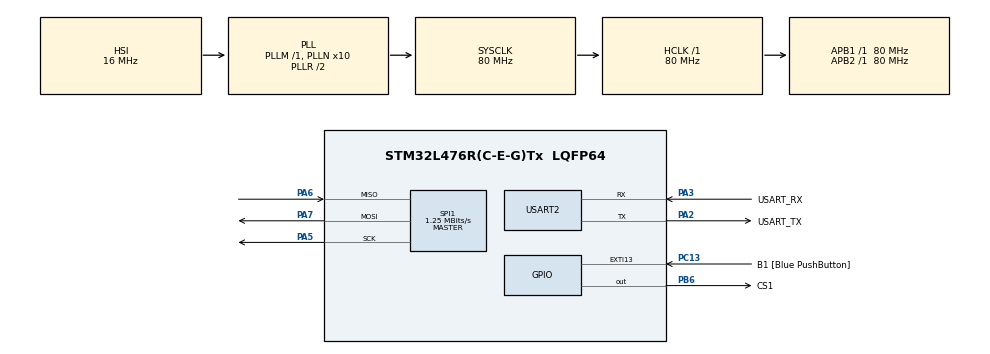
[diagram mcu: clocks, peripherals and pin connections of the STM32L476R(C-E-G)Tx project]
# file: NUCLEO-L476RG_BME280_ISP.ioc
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Mcu.Family=STM32L4
Mcu.Name=STM32L476R(C-E-G)Tx
Mcu.Package=LQFP64
NVIC.PriorityGroup=NVIC_PRIORITYGROUP_4
PA13\ (JTMS-SWDIO).GPIO_Label=TMS
PA13\ (JTMS-SWDIO).Mode=Serial_Wire
PA13\ (JTMS-SWDIO).Signal=SYS_JTMS-SWDIO
PA14\ (JTCK-SWCLK).GPIO_Label=TCK
PA14\ (JTCK-SWCLK).Mode=Serial_Wire
PA14\ (JTCK-SWCLK).Signal=SYS_JTCK-SWCLK
PA2.GPIO_Label=USART_TX
PA2.GPIO_Mode=GPIO_MODE_AF_PP
PA2.GPIO_PuPd=GPIO_NOPULL
PA2.GPIO_Speed=GPIO_SPEED_FREQ_VERY_HIGH
PA2.Mode=Asynchronous
PA2.Signal=USART2_TX
PA3.GPIO_Label=USART_RX
PA3.GPIO_Mode=GPIO_MODE_AF_PP
PA3.GPIO_PuPd=GPIO_NOPULL
PA3.GPIO_Speed=GPIO_SPEED_FREQ_VERY_HIGH
PA3.Mode=Asynchronous
PA3.Signal=USART2_RX
PA5.Mode=Full_Duplex_Master
PA5.Signal=SPI1_SCK
PA6.Mode=Full_Duplex_Master
PA6.Signal=SPI1_MISO
PA7.Mode=Full_Duplex_Master
PA7.Signal=SPI1_MOSI
PB3\ (JTDO-TRACESWO).GPIO_Label=SWO
PB3\ (JTDO-TRACESWO).Signal=SYS_JTDO-SWO
PB6.GPIO_Label=CS1
PB6.Signal=GPIO_Output
PC13.GPIO_Label=B1 [Blue PushButton]
PC13.GPIO_ModeDefaultEXTI=GPIO_MODE_IT_FALLING
PC13.GPIO_PuPd=GPIO_NOPULL
PC13.Signal=GPXTI13
PC14-OSC32_IN\ (PC14).Mode=LSE-External-Oscillator
PC14-OSC32_IN\ (PC14).Signal=RCC_OSC32_IN
PC15-OSC32_OUT\ (PC15).Mode=LSE-External-Oscillator
PC15-OSC32_OUT\ (PC15).Signal=RCC_OSC32_OUT
PH0-OSC_IN\ (PH0).Signal=RCC_OSC_IN
PH1-OSC_OUT\ (PH1).Signal=RCC_OSC_OUT
ProjectManager.HeapSize=0x200
ProjectManager.StackSize=0x400
ProjectManager.TargetToolchain=STM32CubeIDE
RCC.ADCFreq_Value=64000000
RCC.AHBFreq_Value=80000000
RCC.APB1Freq_Value=80000000
RCC.APB1TimFreq_Value=80000000
RCC.APB2Freq_Value=80000000
RCC.APB2TimFreq_Value=80000000
RCC.CortexFreq_Value=80000000
RCC.HCLKFreq_Value=80000000
RCC.HSE_VALUE=8000000
RCC.HSI_VALUE=16000000
RCC.MSI_VALUE=4000000
RCC.PLLN=10
RCC.PLLSourceVirtual=RCC_PLLSOURCE_HSI
RCC.PREFETCH_ENABLE=1
RCC.SYSCLKFreq_VALUE=80000000
RCC.SYSCLKSource=RCC_SYSCLKSOURCE_PLLCLK
RCC.USBFreq_Value=64000000
RCC.VCOOutputFreq_Value=160000000
SPI1.BaudRatePrescaler=SPI_BAUDRATEPRESCALER_64
SPI1.CalculateBaudRate=1.25 MBits/s
SPI1.DataSize=SPI_DATASIZE_8BIT
SPI1.Direction=SPI_DIRECTION_2LINES
SPI1.Mode=SPI_MODE_MASTER
SPI1.VirtualType=VM_MASTER
USART2.VirtualMode-Asynchronous=VM_ASYNC
board=NUCLEO-L476RG

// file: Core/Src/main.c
/* USER CODE BEGIN Header */
/**
  ******************************************************************************
  * @file           : main.c
  * @brief          : Main program body
  ******************************************************************************
  * @attention
  *
  * Copyright (c) 2023 STMicroelectronics.
  * All rights reserved.
  *
  * This software is licensed under terms that can be found in the LICENSE file
  * in the root directory of this software component.
  * If no LICENSE file comes with this software, it is provided AS-IS.
  *
  ******************************************************************************
  */
/* USER CODE END Header */
#include "main.h"

/* USER CODE BEGIN Includes */

#include <stdio.h>

/* USER CODE END Includes */

SPI_HandleTypeDef hspi1;

UART_HandleTypeDef huart2;

void SystemClock_Config(void);
static void MX_GPIO_Init(void);
static void MX_USART2_UART_Init(void);
static void MX_SPI1_Init(void);

int main(void)
{
  /* USER CODE BEGIN 1 */

	// Define variables as its name and type from data sheet
	uint8_t dig_H1, dig_H3, dig_H6, rawData[8];
	int16_t dig_T2, dig_T3, dig_P2, dig_P3, dig_P4, dig_P5, dig_P6, dig_P7, dig_P8, dig_P9, dig_H2, dig_H4, dig_H5;
	uint16_t dig_T1, dig_P1;
	int32_t tRaw, pRaw, hRaw, t_fine;
	char sendData[80];
	int len, temp, pressure, humid;

  /* USER CODE END 1 */

  /* MCU Configuration--------------------------------------------------------*/

  /* Reset of all peripherals, Initializes the Flash interface and the Systick. */
  HAL_Init();

  /* Configure the system clock */
  SystemClock_Config();

  /* Initialize all configured peripherals */
  MX_GPIO_Init();
  MX_USART2_UART_Init();
  MX_SPI1_Init();
  /* USER CODE BEGIN 2 */

	// Copy functions from data sheet that compensate data from sensor and switch "BME280_S32_t" to "int32_t"
	int32_t BME280_compensate_T_int32(int32_t adc_T) {

		int32_t var1, var2, T;
		var1 = ((((adc_T >> 3) - ((int32_t) dig_T1 << 1))) * ((int32_t) dig_T2))
				>> 11;
		var2 = (((((adc_T >> 4) - ((int32_t) dig_T1))
				* ((adc_T >> 4) - ((int32_t) dig_T1))) >> 12)
				* ((int32_t) dig_T3)) >> 14;
		t_fine = var1 + var2;
		T = (t_fine * 5 + 128) >> 8;
		return T;
	}

	uint32_t BME280_compensate_P_int64(int32_t adc_P) {

		int64_t var1, var2, p;
		var1 = ((int64_t) t_fine) - 128000;
		var2 = var1 * var1 * (int64_t) dig_P6;
		var2 = var2 + ((var1 * (int64_t) dig_P5) << 17);
		var2 = var2 + (((int64_t) dig_P4) << 35);
		var1 = ((var1 * var1 * (int64_t) dig_P3) >> 8)
				+ ((var1 * (int64_t) dig_P2) << 12);
		var1 = (((((int64_t) 1) << 47) + var1)) * ((int64_t) dig_P1) >> 33;
		if (var1 == 0) {
			return 0; // avoid exception caused by division by zero
		}
		p = 1048576 - adc_P;
		p = (((p << 31) - var2) * 3125) / var1;
		var1 = (((int64_t) dig_P9) * (p >> 13) * (p >> 13)) >> 25;
		var2 = (((int64_t) dig_P8) * p) >> 19;
		p = ((p + var1 + var2) >> 8) + (((int64_t) dig_P7) << 4);
		return (uint32_t) p;
	}

	uint32_t bme280_compensate_H_int32(int32_t adc_H) {

		int32_t v_x1_u32r;
		v_x1_u32r = (t_fine - ((int32_t) 76800));
		v_x1_u32r = (((((adc_H << 14) - (((int32_t) dig_H4) << 20)
				- (((int32_t) dig_H5) * v_x1_u32r)) + ((int32_t) 16384)) >> 15)
				* (((((((v_x1_u32r * ((int32_t) dig_H6)) >> 10)
						* (((v_x1_u32r * ((int32_t) dig_H3)) >> 11)
								+ ((int32_t) 32768))) >> 10)
						+ ((int32_t) 2097152)) * ((int32_t) dig_H2) + 8192)
						>> 14));
		v_x1_u32r = (v_x1_u32r
				- (((((v_x1_u32r >> 15) * (v_x1_u32r >> 15)) >> 7)
						* ((int32_t) dig_H1)) >> 4));
		v_x1_u32r = (v_x1_u32r < 0 ? 0 : v_x1_u32r);
		v_x1_u32r = (v_x1_u32r > 419430400 ? 419430400 : v_x1_u32r);
		return (uint32_t) (v_x1_u32r >> 12);
	}

	// Function for getting compensation variables.
	void calibData(uint16_t *dig_T1,int16_t *dig_T2,int16_t *dig_T3,uint16_t *dig_P1,int16_t *dig_P2,int16_t *dig_P3,int16_t *dig_P4,int16_t *dig_P5,int16_t *dig_P6,int16_t *dig_P7,int16_t *dig_P8,int16_t *dig_P9,uint8_t *dig_H1,int16_t *dig_H2,uint8_t *dig_H3,int16_t *dig_H4,int16_t *dig_H5,uint8_t *dig_H6){

		uint8_t compData[25], compData2[7]; // List to temporary store data
		uint8_t tempPresAddress = 0x88; //From data sheet, it says to pass address, but the 7-bit should be 1 for read. As it already is
		HAL_GPIO_WritePin(GPIOB, GPIO_PIN_6, GPIO_PIN_RESET);
		HAL_SPI_Transmit(&hspi1, &tempPresAddress, 1, 1000);
		HAL_SPI_Receive(&hspi1, compData, 25, 1000); // From data sheet it says when reading more than one byte it will read from the next address. This is taken advantage of by reading multiple bytes from one line and adding them to a list.
		HAL_GPIO_WritePin(GPIOB, GPIO_PIN_6, GPIO_PIN_SET);
		HAL_Delay(100);

		uint8_t humAddress = 0xE1; // Here the 7bit already is 1.
		HAL_GPIO_WritePin(GPIOB, GPIO_PIN_6, GPIO_PIN_RESET);
		HAL_SPI_Transmit(&hspi1, &humAddress, 1, 1000);
		HAL_SPI_Receive(&hspi1, compData2, 7, 1000);
		HAL_GPIO_WritePin(GPIOB, GPIO_PIN_6, GPIO_PIN_SET);
		HAL_Delay(100);

		*dig_T1 = (compData[1] << 8) | compData[0]; // Organize data from list to their corresponding variable as it is in data sheet.
		*dig_T2 = (compData[3] << 8) | compData[2];
		*dig_T3 = (compData[5] << 8) | compData[4];
		*dig_P1 = (compData[7] << 8) | compData[5];
		*dig_P2 = (compData[9] << 8) | compData[6];
		*dig_P3 = (compData[11] << 8) | compData[10];
		*dig_P4 = (compData[13] << 8) | compData[12];
		*dig_P5 = (compData[15] << 8) | compData[14];
		*dig_P6 = (compData[17] << 8) | compData[16];
		*dig_P7 = (compData[19] << 8) | compData[18];
		*dig_P8 = (compData[21] << 8) | compData[20];
		*dig_P9 = (compData[23] << 8) | compData[22];
		*dig_H1 = compData[24];
		*dig_H2 = (compData2[1] << 8) | compData2[0];
		*dig_H3 = (compData2[2]);
		*dig_H4 = (compData2[3] << 4) | (compData2[4] & 0x0f);
		*dig_H5 = (compData2[6] << 4) | (compData2[5] >> 4);
		*dig_H6 = (compData2[7]);

	}

	// Sets Chip select pin to high on init.
	HAL_GPIO_WritePin(GPIOB, GPIO_PIN_6, GPIO_PIN_SET);
	HAL_Delay(100);

	uint8_t activateHumidity[2];
	activateHumidity[0] = 0xF2 & 0b01111111;  //From data sheet, it says to pass address, but the 7-bit should be 0 for write.
	activateHumidity[1] = 0x03; //00000011  // From data sheet its only the first 3 bits that counts. And 011 says its oversampling ×4

	uint8_t activateTempPres[2];
	activateTempPres[0] = 0xF4 & 0b01111111; //
	activateTempPres[1] = 0x27; //00100111 //bit 7,6,5 = temperature sampling (001), bit 4,3,2 = hum sampling (001), bit 1,0 = normal mode (11)

	// Sets chip select to low and sends address and value to initialization the sensor to normal mode with selected samples.
	//  From data sheet the humidity need to be initialization first, and only works after temperature and pressure also has been initialization.
	HAL_GPIO_WritePin(GPIOB, GPIO_PIN_6, GPIO_PIN_RESET);
	HAL_SPI_Transmit(&hspi1, activateHumidity, 2, 1000);
	HAL_GPIO_WritePin(GPIOB, GPIO_PIN_6, GPIO_PIN_SET);

	HAL_Delay(100);

	HAL_GPIO_WritePin(GPIOB, GPIO_PIN_6, GPIO_PIN_RESET);
	HAL_SPI_Transmit(&hspi1, activateTempPres, 2, 1000);
	HAL_GPIO_WritePin(GPIOB, GPIO_PIN_6, GPIO_PIN_SET);

	HAL_Delay(100);

	// Get compensating numbers
	calibData(&dig_T1, &dig_T2, &dig_T3, &dig_P1, &dig_P2, &dig_P3, &dig_P4, &dig_P5, &dig_P6, &dig_P7, &dig_P8, &dig_P9, &dig_H1, &dig_H2, &dig_H3, &dig_H4, &dig_H5, &dig_H6);

	HAL_Delay(100);

  /* USER CODE END 2 */

  /* Infinite loop */
  while (1)
  {

    /* USER CODE BEGIN 3 */
	uint8_t chipAddress = 0xD0 | 0b10000000; //From data sheet, it says to pass address, but the 7-bit should be 1 for read
	uint8_t chipID; // Shall write memory from sensor to this memory address on stm32
	HAL_GPIO_WritePin(GPIOB, GPIO_PIN_6, GPIO_PIN_RESET);
	HAL_SPI_Transmit(&hspi1, &chipAddress, 1, 1000);
	HAL_SPI_Receive(&hspi1, &chipID, 1, 1000);
	HAL_GPIO_WritePin(GPIOB, GPIO_PIN_6, GPIO_PIN_SET);
	HAL_Delay(100);

	uint8_t rawDataAddress = 0xF7; // Here the 7bit already is 1.
	HAL_GPIO_WritePin(GPIOB, GPIO_PIN_6, GPIO_PIN_RESET);
	HAL_SPI_Transmit(&hspi1, &rawDataAddress, 1, 1000);
	HAL_SPI_Receive(&hspi1, rawData, 8, 1000);
	HAL_GPIO_WritePin(GPIOB, GPIO_PIN_6, GPIO_PIN_SET);
	HAL_Delay(100);

	pRaw = (rawData[0]<<12)|(rawData[1]<<4)|(rawData[2]>>4); // Organize data from list to their corresponding variable as it is in data sheet.
	tRaw = (rawData[3]<<12)|(rawData[4]<<4)|(rawData[5]>>4);
	hRaw = (rawData[6]<<8)|(rawData[7]);

	temp = BME280_compensate_T_int32(tRaw); // Put data in function and receive corrected data
	pressure = BME280_compensate_P_int64(pRaw);
	humid = bme280_compensate_H_int32(hRaw);

	len = sprintf(sendData, "%u,%u,%u\n", temp, pressure, humid); // Turn initialization to string

	HAL_UART_Transmit(&huart2, (uint8_t*) sendData, len, 10); // Sending with UART
	HAL_Delay(100);

  }
  /* USER CODE END 3 */
}

void SystemClock_Config(void)
{
  RCC_OscInitTypeDef RCC_OscInitStruct = {0};
  RCC_ClkInitTypeDef RCC_ClkInitStruct = {0};

  /** Configure the main internal regulator output voltage
  */
  if (HAL_PWREx_ControlVoltageScaling(PWR_REGULATOR_VOLTAGE_SCALE1) != HAL_OK)
  {
    Error_Handler();
  }

  /** Initializes the RCC Oscillators according to the specified parameters
  * in the RCC_OscInitTypeDef structure.
  */
  RCC_OscInitStruct.OscillatorType = RCC_OSCILLATORTYPE_HSI;
  RCC_OscInitStruct.HSIState = RCC_HSI_ON;
  RCC_OscInitStruct.HSICalibrationValue = RCC_HSICALIBRATION_DEFAULT;
  RCC_OscInitStruct.PLL.PLLState = RCC_PLL_ON;
  RCC_OscInitStruct.PLL.PLLSource = RCC_PLLSOURCE_HSI;
  RCC_OscInitStruct.PLL.PLLM = 1;
  RCC_OscInitStruct.PLL.PLLN = 10;
  RCC_OscInitStruct.PLL.PLLP = RCC_PLLP_DIV7;
  RCC_OscInitStruct.PLL.PLLQ = RCC_PLLQ_DIV2;
  RCC_OscInitStruct.PLL.PLLR = RCC_PLLR_DIV2;
  if (HAL_RCC_OscConfig(&RCC_OscInitStruct) != HAL_OK)
  {
    Error_Handler();
  }

  /** Initializes the CPU, AHB and APB buses clocks
  */
  RCC_ClkInitStruct.ClockType = RCC_CLOCKTYPE_HCLK|RCC_CLOCKTYPE_SYSCLK
                              |RCC_CLOCKTYPE_PCLK1|RCC_CLOCKTYPE_PCLK2;
  RCC_ClkInitStruct.SYSCLKSource = RCC_SYSCLKSOURCE_PLLCLK;
  RCC_ClkInitStruct.AHBCLKDivider = RCC_SYSCLK_DIV1;
  RCC_ClkInitStruct.APB1CLKDivider = RCC_HCLK_DIV1;
  RCC_ClkInitStruct.APB2CLKDivider = RCC_HCLK_DIV1;

  if (HAL_RCC_ClockConfig(&RCC_ClkInitStruct, FLASH_LATENCY_4) != HAL_OK)
  {
    Error_Handler();
  }
}

static void MX_SPI1_Init(void)
{

  /* SPI1 parameter configuration*/
  hspi1.Instance = SPI1;
  hspi1.Init.Mode = SPI_MODE_MASTER;
  hspi1.Init.Direction = SPI_DIRECTION_2LINES;
  hspi1.Init.DataSize = SPI_DATASIZE_8BIT;
  hspi1.Init.CLKPolarity = SPI_POLARITY_LOW;
  hspi1.Init.CLKPhase = SPI_PHASE_1EDGE;
  hspi1.Init.NSS = SPI_NSS_SOFT;
  hspi1.Init.BaudRatePrescaler = SPI_BAUDRATEPRESCALER_64;
  hspi1.Init.FirstBit = SPI_FIRSTBIT_MSB;
  hspi1.Init.TIMode = SPI_TIMODE_DISABLE;
  hspi1.Init.CRCCalculation = SPI_CRCCALCULATION_DISABLE;
  hspi1.Init.CRCPolynomial = 7;
  hspi1.Init.CRCLength = SPI_CRC_LENGTH_DATASIZE;
  hspi1.Init.NSSPMode = SPI_NSS_PULSE_ENABLE;
  if (HAL_SPI_Init(&hspi1) != HAL_OK)
  {
    Error_Handler();
  }

}

static void MX_USART2_UART_Init(void)
{

  huart2.Instance = USART2;
  huart2.Init.BaudRate = 115200;
  huart2.Init.WordLength = UART_WORDLENGTH_8B;
  huart2.Init.StopBits = UART_STOPBITS_1;
  huart2.Init.Parity = UART_PARITY_NONE;
  huart2.Init.Mode = UART_MODE_TX_RX;
  huart2.Init.HwFlowCtl = UART_HWCONTROL_NONE;
  huart2.Init.OverSampling = UART_OVERSAMPLING_16;
  huart2.Init.OneBitSampling = UART_ONE_BIT_SAMPLE_DISABLE;
  huart2.AdvancedInit.AdvFeatureInit = UART_ADVFEATURE_NO_INIT;
  if (HAL_UART_Init(&huart2) != HAL_OK)
  {
    Error_Handler();
  }

}

static void MX_GPIO_Init(void)
{
  GPIO_InitTypeDef GPIO_InitStruct = {0};

  /* GPIO Ports Clock Enable */
  __HAL_RCC_GPIOC_CLK_ENABLE();
  __HAL_RCC_GPIOH_CLK_ENABLE();
  __HAL_RCC_GPIOA_CLK_ENABLE();
  __HAL_RCC_GPIOB_CLK_ENABLE();

  /*Configure GPIO pin Output Level */
  HAL_GPIO_WritePin(CS1_GPIO_Port, CS1_Pin, GPIO_PIN_RESET);

  /*Configure GPIO pin : B1_Pin */
  GPIO_InitStruct.Pin = B1_Pin;
  GPIO_InitStruct.Mode = GPIO_MODE_IT_FALLING;
  GPIO_InitStruct.Pull = GPIO_NOPULL;
  HAL_GPIO_Init(B1_GPIO_Port, &GPIO_InitStruct);

  /*Configure GPIO pin : CS1_Pin */
  GPIO_InitStruct.Pin = CS1_Pin;
  GPIO_InitStruct.Mode = GPIO_MODE_OUTPUT_PP;
  GPIO_InitStruct.Pull = GPIO_NOPULL;
  GPIO_InitStruct.Speed = GPIO_SPEED_FREQ_LOW;
  HAL_GPIO_Init(CS1_GPIO_Port, &GPIO_InitStruct);

}

void Error_Handler(void)
{
  __disable_irq();
  while (1)
  {
  }
}
